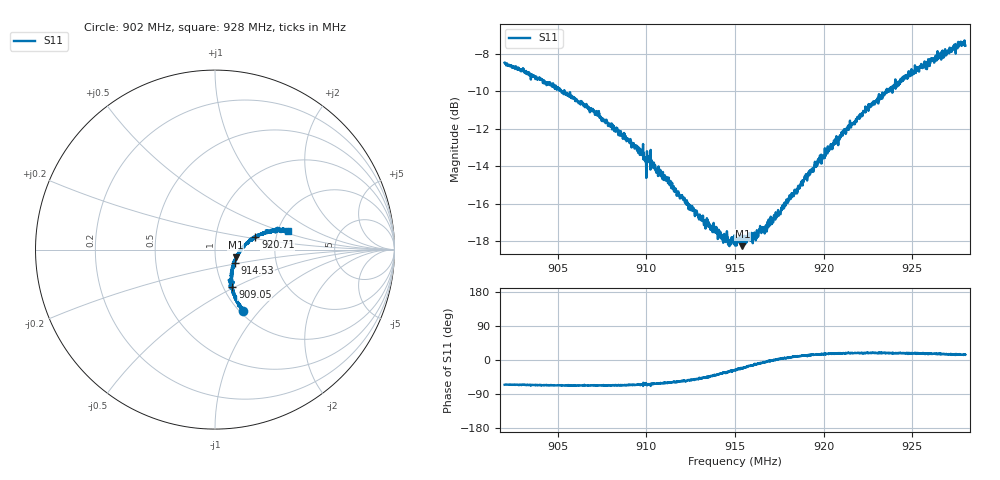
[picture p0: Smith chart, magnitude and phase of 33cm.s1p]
! Calibrated averaged scanner-service zoom
# Hz S RI R 50
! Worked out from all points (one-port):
!   2001 points, 902 MHz to 928 MHz, reference 50 ohm
!   lowest |S11| = -18.3 dB at 915.42 MHz (marker M1), VSWR 1.28, Z = 62.7 - j5.45 ohm
!   |S11| at or under -10 dB: 905.2764 MHz to 905.3621 MHz (85.71 kHz wide, 0.00947 % of centre); 905.38 MHz to 923.51 MHz (18.13 MHz wide, 1.98 % of centre); 923.5755 MHz to 923.6354 MHz (59.92 kHz wide, 0.00649 % of centre)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
!   S11 on the Smith chart (normalised r, x): 902 MHz: 1.04, -0.83; 909.05 MHz: 1.10, -0.49; 914.53 MHz: 1.24, -0.18; 920.71 MHz: 1.56, +0.23; 928 MHz: 2.27, +0.56
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9.02e8  0.1579 -0.3421
9.0525e8  0.1238 -0.2897
9.06953e8  0.1111 -0.2576
9.085e8  0.0941 -0.2239
9.09046e8  0.0973 -0.2089
9.09683e8  0.0921 -0.197
9.09878e8  0.089 -0.188
9.10099e8  0.0914 -0.1844
9.10151e8  0.0893 -0.1873
9.1175e8  0.0914 -0.1407
9.13232e8  0.0968 -0.1033
9.14246e8  0.1039 -0.0763
9.14532e8  0.1112 -0.0719
9.1474e8  0.1095 -0.0595
9.15e8  0.1152 -0.057
9.15416e8  0.1145 -0.0429
9.16092e8  0.1293 -0.0238
9.16456e8  0.1345 -0.0195
9.1669e8  0.137 -0.0156
9.1825e8  0.1658 0.0221
9.19732e8  0.1996 0.0502
9.20005e8  0.2048 0.0535
9.20707e8  0.2254 0.0687
9.215e8  0.2422 0.0823
9.22696e8  0.2775 0.0918
9.2475e8  0.328 0.1012
9.27701e8  0.4064 0.1029
9.28e8  0.4054 0.1026
